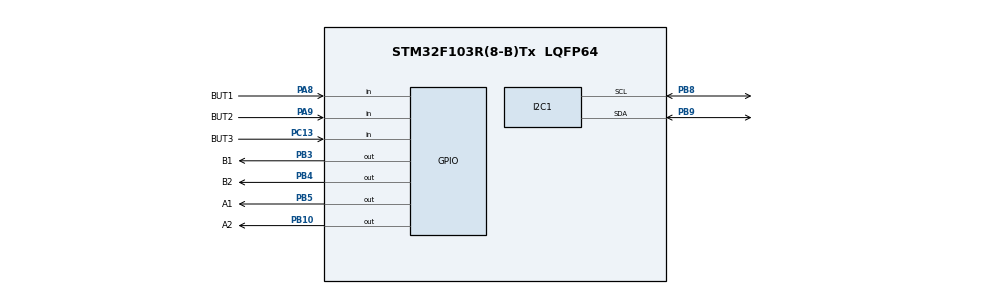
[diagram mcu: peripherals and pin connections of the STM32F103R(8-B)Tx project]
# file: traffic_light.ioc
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Mcu.Family=STM32F1
Mcu.Name=STM32F103R(8-B)Tx
Mcu.Package=LQFP64
NVIC.PriorityGroup=NVIC_PRIORITYGROUP_4
NVIC.TIM2_IRQn=true\:0\:0\:false\:false\:true\:true\:true
PA13.Mode=Serial_Wire
PA13.Signal=SYS_JTMS-SWDIO
PA14.Mode=Serial_Wire
PA14.Signal=SYS_JTCK-SWCLK
PA8.GPIO_Label=BUT1
PA8.Signal=GPIO_Input
PA9.GPIO_Label=BUT2
PA9.Signal=GPIO_Input
PB10.GPIO_Label=A2
PB10.Signal=GPIO_Output
PB3.GPIO_Label=B1
PB3.Signal=GPIO_Output
PB4.GPIO_Label=B2
PB4.Signal=GPIO_Output
PB5.GPIO_Label=A1
PB5.Signal=GPIO_Output
PB8.Mode=I2C
PB8.Signal=I2C1_SCL
PB9.Mode=I2C
PB9.Signal=I2C1_SDA
PC13-TAMPER-RTC.GPIO_Label=BUT3
PC13-TAMPER-RTC.Signal=GPIO_Input
ProjectManager.HeapSize=0x200
ProjectManager.StackSize=0x400
ProjectManager.TargetToolchain=STM32CubeIDE
RCC.APB1Freq_Value=8000000
RCC.APB2Freq_Value=8000000
TIM2.Period=9
TIM2.Prescaler=7999
VP_TIM2_VS_ClockSourceINT.Mode=Internal
board=custom

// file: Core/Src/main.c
/* USER CODE BEGIN Header */
/**
 ******************************************************************************
 * @file           : main.c
 * @brief          : Main program body
 ******************************************************************************
 * @attention
 *
 * <h2><center>&copy; Copyright (c) 2025 STMicroelectronics.
 * All rights reserved.</center></h2>
 *
 * This software component is licensed by ST under BSD 3-Clause license,
 * the "License"; You may not use this file except in compliance with the
 * License. You may obtain a copy of the License at:
 *                        opensource.org/licenses/BSD-3-Clause
 *
 ******************************************************************************
 */
/* USER CODE END Header */
#include "main.h"

/* USER CODE BEGIN Includes */
#include "global.h"
#include "scheduler.h"
#include "software_timer.h"
#include "button.h"
#include "traffic_light.h"
#include "dht20.h"
#include "lcd.h"
#include "fsm_automatic.h"
#include "fsm_manual.h"
#include "fsm_tuning.h"
/* USER CODE END Includes */

I2C_HandleTypeDef hi2c1;

TIM_HandleTypeDef htim2;

void SystemClock_Config(void);
static void MX_GPIO_Init(void);
static void MX_I2C1_Init(void);
static void MX_TIM2_Init(void);

int main(void) {

  /* MCU Configuration--------------------------------------------------------*/

  /* Reset of all peripherals, Initializes the Flash interface and the Systick.
   */
  HAL_Init();

  /* Configure the system clock */
  SystemClock_Config();

  /* Initialize all configured peripherals */
  MX_GPIO_Init();
  MX_I2C1_Init();
  MX_TIM2_Init();
  /* USER CODE BEGIN 2 */
  HAL_TIM_Base_Start_IT(&htim2);
  SCH_Init();
  lcd_init();
  dht20_init();

  /* Register periodic tasks (1 tick = 10 ms) */
  SCH_Add_Task(button_read_task,  0,   1);   /* 10 ms: button debounce & hold */
  SCH_Add_Task(timerRun,          0,   1);   /* 10 ms: software timers        */
  SCH_Add_Task(fsm_automatic_run, 1,   5);   /* 50 ms: Automatic FSM          */
  SCH_Add_Task(fsm_manual_run,    2,   5);   /* 50 ms: Manual FSM             */
  SCH_Add_Task(fsm_tuning_run,    3,   5);   /* 50 ms: Tuning FSM             */
  SCH_Add_Task(fsm_tuning_blink,  4,  50);   /* 500 ms: Config 2 Hz blink     */
  SCH_Add_Task(dht20_read_task,  10, 100);   /* 1000 ms: DHT20 2-step read    */
  /* USER CODE END 2 */

  /* Infinite loop */
  /* USER CODE BEGIN WHILE */
  while (1) {
    SCH_Dispatch_Tasks();
    /* USER CODE END WHILE */

  }
}

void SystemClock_Config(void) {
  RCC_OscInitTypeDef RCC_OscInitStruct = {0};
  RCC_ClkInitTypeDef RCC_ClkInitStruct = {0};

  /** Initializes the RCC Oscillators according to the specified parameters
   * in the RCC_OscInitTypeDef structure.
   */
  RCC_OscInitStruct.OscillatorType = RCC_OSCILLATORTYPE_HSI;
  RCC_OscInitStruct.HSIState = RCC_HSI_ON;
  RCC_OscInitStruct.HSICalibrationValue = RCC_HSICALIBRATION_DEFAULT;
  RCC_OscInitStruct.PLL.PLLState = RCC_PLL_NONE;
  if (HAL_RCC_OscConfig(&RCC_OscInitStruct) != HAL_OK) {
    Error_Handler();
  }
  /** Initializes the CPU, AHB and APB buses clocks
   */
  RCC_ClkInitStruct.ClockType = RCC_CLOCKTYPE_HCLK | RCC_CLOCKTYPE_SYSCLK |
                                RCC_CLOCKTYPE_PCLK1 | RCC_CLOCKTYPE_PCLK2;
  RCC_ClkInitStruct.SYSCLKSource = RCC_SYSCLKSOURCE_HSI;
  RCC_ClkInitStruct.AHBCLKDivider = RCC_SYSCLK_DIV1;
  RCC_ClkInitStruct.APB1CLKDivider = RCC_HCLK_DIV1;
  RCC_ClkInitStruct.APB2CLKDivider = RCC_HCLK_DIV1;

  if (HAL_RCC_ClockConfig(&RCC_ClkInitStruct, FLASH_LATENCY_0) != HAL_OK) {
    Error_Handler();
  }
}

static void MX_I2C1_Init(void) {

  hi2c1.Instance = I2C1;
  hi2c1.Init.ClockSpeed = 100000;
  hi2c1.Init.DutyCycle = I2C_DUTYCYCLE_2;
  hi2c1.Init.OwnAddress1 = 0;
  hi2c1.Init.AddressingMode = I2C_ADDRESSINGMODE_7BIT;
  hi2c1.Init.DualAddressMode = I2C_DUALADDRESS_DISABLE;
  hi2c1.Init.OwnAddress2 = 0;
  hi2c1.Init.GeneralCallMode = I2C_GENERALCALL_DISABLE;
  hi2c1.Init.NoStretchMode = I2C_NOSTRETCH_DISABLE;
  if (HAL_I2C_Init(&hi2c1) != HAL_OK) {
    Error_Handler();
  }
}

static void MX_TIM2_Init(void) {

  TIM_ClockConfigTypeDef sClockSourceConfig = {0};
  TIM_MasterConfigTypeDef sMasterConfig = {0};

  htim2.Instance = TIM2;
  htim2.Init.Prescaler = 7999;
  htim2.Init.CounterMode = TIM_COUNTERMODE_UP;
  htim2.Init.Period = 9;
  htim2.Init.ClockDivision = TIM_CLOCKDIVISION_DIV1;
  htim2.Init.AutoReloadPreload = TIM_AUTORELOAD_PRELOAD_DISABLE;
  if (HAL_TIM_Base_Init(&htim2) != HAL_OK) {
    Error_Handler();
  }
  sClockSourceConfig.ClockSource = TIM_CLOCKSOURCE_INTERNAL;
  if (HAL_TIM_ConfigClockSource(&htim2, &sClockSourceConfig) != HAL_OK) {
    Error_Handler();
  }
  sMasterConfig.MasterOutputTrigger = TIM_TRGO_RESET;
  sMasterConfig.MasterSlaveMode = TIM_MASTERSLAVEMODE_DISABLE;
  if (HAL_TIMEx_MasterConfigSynchronization(&htim2, &sMasterConfig) != HAL_OK) {
    Error_Handler();
  }
}

static void MX_GPIO_Init(void) {
  GPIO_InitTypeDef GPIO_InitStruct = {0};

  /* GPIO Ports Clock Enable */
  __HAL_RCC_GPIOC_CLK_ENABLE();
  __HAL_RCC_GPIOB_CLK_ENABLE();
  __HAL_RCC_GPIOA_CLK_ENABLE();

  /*Configure GPIO pin Output Level */
  HAL_GPIO_WritePin(GPIOB, A2_Pin | B1_Pin | B2_Pin | A1_Pin, GPIO_PIN_RESET);

  /*Configure GPIO pin : BUT3_Pin */
  GPIO_InitStruct.Pin = BUT3_Pin;
  GPIO_InitStruct.Mode = GPIO_MODE_INPUT;
  GPIO_InitStruct.Pull = GPIO_NOPULL;
  HAL_GPIO_Init(BUT3_GPIO_Port, &GPIO_InitStruct);

  /*Configure GPIO pins : A2_Pin B1_Pin B2_Pin A1_Pin */
  GPIO_InitStruct.Pin = A2_Pin | B1_Pin | B2_Pin | A1_Pin;
  GPIO_InitStruct.Mode = GPIO_MODE_OUTPUT_PP;
  GPIO_InitStruct.Pull = GPIO_NOPULL;
  GPIO_InitStruct.Speed = GPIO_SPEED_FREQ_LOW;
  HAL_GPIO_Init(GPIOB, &GPIO_InitStruct);

  /*Configure GPIO pins : BUT1_Pin BUT2_Pin */
  GPIO_InitStruct.Pin = BUT1_Pin | BUT2_Pin;
  GPIO_InitStruct.Mode = GPIO_MODE_INPUT;
  GPIO_InitStruct.Pull = GPIO_NOPULL;
  HAL_GPIO_Init(GPIOA, &GPIO_InitStruct);
}

/* USER CODE BEGIN 4 */
void HAL_TIM_PeriodElapsedCallback(TIM_HandleTypeDef *htim) {
  if (htim->Instance == TIM2) {
    SCH_Update();
  }
}
/* USER CODE END 4 */

void Error_Handler(void) {
  __disable_irq();
  while (1) {
  }
}

#ifdef USE_FULL_ASSERT
/**
 * @brief  Reports the name of the source file and the source line number
 *         where the assert_param error has occurred.
 * @param  file: pointer to the source file name
 * @param  line: assert_param error line source number
 * @retval None
 */
void assert_failed(uint8_t *file, uint32_t line) {
  /* USER CODE BEGIN 6 */
  /* User can add his own implementation to report the file name and line
     number, ex: printf("Wrong parameters value: file %s on line %d\r\n", file,
     line) */
  /* USER CODE END 6 */
}
#endif /* USE_FULL_ASSERT */

/************************ (C) COPYRIGHT STMicroelectronics *****END OF FILE****/
